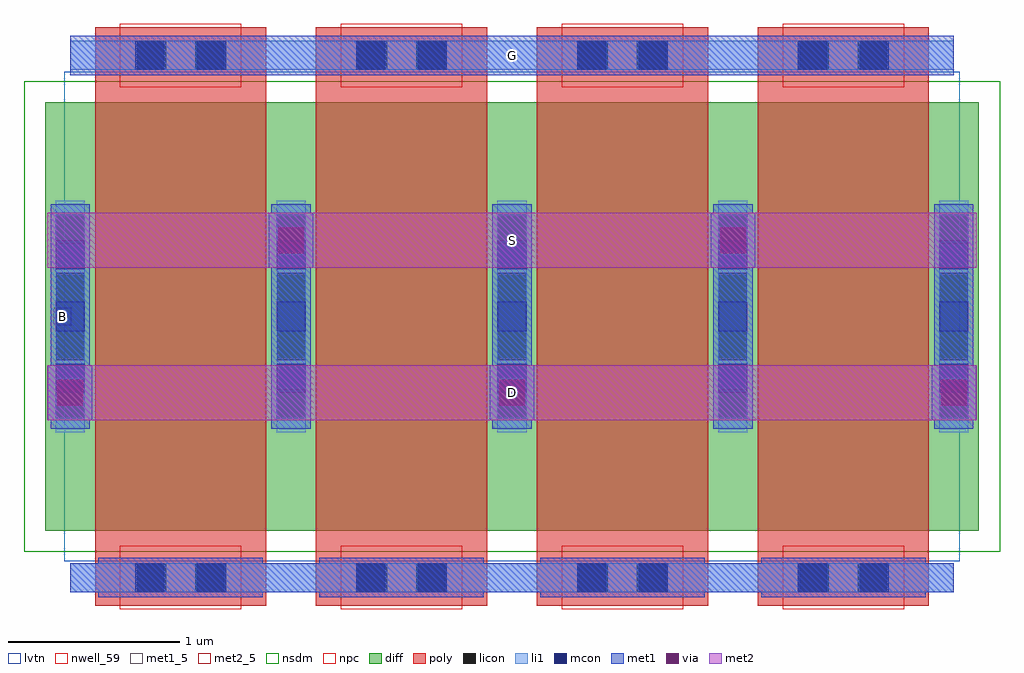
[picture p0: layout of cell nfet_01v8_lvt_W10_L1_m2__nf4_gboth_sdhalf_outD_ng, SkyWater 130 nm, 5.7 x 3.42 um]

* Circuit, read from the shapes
.subckt nfet_01v8_lvt_W10_L1_m2__nf4_gboth_sdhalf_outD_ng B D G S
XM1 S G D B sky130_fd_pr__nfet_01v8_lvt w=2.5 l=1 m=4
.ends

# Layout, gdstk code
import gdstk
lib = gdstk.Library(unit=1e-6, precision=1e-09)
def R(c, l, rs):  # rectangles x0, y0, x1, y1
    for r in rs: c.add(gdstk.rectangle(r[:2], r[2:], *l))
def A(c, l, x, y, w, h, nx, ny, dx, dy):  # array of equal rectangles
    R(c, l, [(x+i*dx, y+j*dy, x+i*dx+w, y+j*dy+h) for i in range(nx) for j in range(ny)])
nwell_59 = (64, 59)
diff = (65, 20)
poly = (66, 20)
licon = (66, 44)
li1 = (67, 20)
mcon = (67, 44)
met1_5 = (68, 5)
met1 = (68, 20)
via = (68, 44)
met2_5 = (69, 5)
met2 = (69, 20)
nsdm = (93, 44)
npc = (95, 20)
lvtn = (125, 44)

sky130_fd_pr__nfet_01v8_ = lib.new_cell('sky130_fd_pr__nfet_01v8_lvt_EJANB7')
R(sky130_fd_pr__nfet_01v8_, diff, [(-2.725,-1.25,2.725,1.25)])
A(sky130_fd_pr__nfet_01v8_, poly, -2.435, -1.69, 1, 3.38, 4, 1, 1.29, 0)
A(sky130_fd_pr__nfet_01v8_, licon, -2.665, -0.595, 0.17, 0.17, 5, 4, 1.29, 0.34)
R(sky130_fd_pr__nfet_01v8_, licon, [(-2.19,-1.61,-2.02,-1.44), (-1.85,-1.61,-1.68,-1.44), (-0.9,-1.61,-0.73,-1.44), (-0.56,-1.61,-0.39,-1.44), (0.39,-1.61,0.56,-1.44), (0.73,-1.61,0.9,-1.44), (1.68,-1.61,1.85,-1.44), (2.02,-1.61,2.19,-1.44), (-2.19,1.44,-2.02,1.61), (-1.85,1.44,-1.68,1.61), (-0.9,1.44,-0.73,1.61), (-0.56,1.44,-0.39,1.61), (0.39,1.44,0.56,1.61), (0.73,1.44,0.9,1.61), (1.68,1.44,1.85,1.61), (2.02,1.44,2.19,1.61)])
A(sky130_fd_pr__nfet_01v8_, li1, -2.665, -0.675, 0.17, 1.35, 5, 1, 1.29, 0)
R(sky130_fd_pr__nfet_01v8_, li1, [(-2.58,-1.61,2.58,-1.44), (-2.58,1.44,2.58,1.61)])
A(sky130_fd_pr__nfet_01v8_, mcon, -2.665, -0.445, 0.17, 0.17, 5, 3, 1.29, 0.36)
R(sky130_fd_pr__nfet_01v8_, mcon, [(-2.2,-1.61,-2.03,-1.44), (-1.84,-1.61,-1.67,-1.44), (-0.91,-1.61,-0.74,-1.44), (-0.55,-1.61,-0.38,-1.44), (0.38,-1.61,0.55,-1.44), (0.74,-1.61,0.91,-1.44), (1.67,-1.61,1.84,-1.44), (2.03,-1.61,2.2,-1.44), (-2.2,1.44,-2.03,1.61), (-1.84,1.44,-1.67,1.61), (-0.91,1.44,-0.74,1.61), (-0.55,1.44,-0.38,1.61), (0.38,1.44,0.55,1.61), (0.74,1.44,0.91,1.61), (1.67,1.44,1.84,1.61), (2.03,1.44,2.2,1.61)])
A(sky130_fd_pr__nfet_01v8_, met1, -2.415, -1.64, 0.96, 0.03, 4, 2, 1.29, 0.2)
A(sky130_fd_pr__nfet_01v8_, met1, -2.695, -0.655, 0.23, 1.31, 5, 1, 1.29, 0)
A(sky130_fd_pr__nfet_01v8_, met1, -2.415, 1.41, 0.96, 0.03, 4, 2, 1.29, 0.2)
R(sky130_fd_pr__nfet_01v8_, met1, [(-2.58,-1.61,2.58,-1.44), (-2.58,1.44,2.58,1.61)])
R(sky130_fd_pr__nfet_01v8_, nsdm, [(-2.85,-1.375,2.85,1.375)])
A(sky130_fd_pr__nfet_01v8_, npc, -2.29, -1.71, 0.71, 0.37, 4, 2, 1.29, 3.05)
R(sky130_fd_pr__nfet_01v8_, lvtn, [(-2.615,-1.43,2.615,1.43)])
sky130_fd_pr__nfet_01v8_.add(gdstk.Label('D0', (-2.58,0), layer=67, texttype=5))
sky130_fd_pr__nfet_01v8_.add(gdstk.Label('G', (1.935,1.525), layer=67, texttype=5))
sky130_fd_pr__nfet_01v8_.add(gdstk.Label('G', (0.645,1.525), layer=67, texttype=5))
sky130_fd_pr__nfet_01v8_.add(gdstk.Label('G', (-0.645,1.525), layer=67, texttype=5))
sky130_fd_pr__nfet_01v8_.add(gdstk.Label('G', (-1.935,1.525), layer=67, texttype=5))
sky130_fd_pr__nfet_01v8_.add(gdstk.Label('S1', (-1.29,0), layer=67, texttype=5))
sky130_fd_pr__nfet_01v8_.add(gdstk.Label('D2', (0,0), layer=67, texttype=5))
sky130_fd_pr__nfet_01v8_.add(gdstk.Label('S3', (1.29,0), layer=67, texttype=5))

nfet_01v8_lvt_w10_l1_m2_ = lib.new_cell('nfet_01v8_lvt_W10_L1_m2__nf4_gboth_sdhalf_outD_ng')
R(nfet_01v8_lvt_w10_l1_m2_, nwell_59, [(0.05,1.64,0.15,1.74)])
R(nfet_01v8_lvt_w10_l1_m2_, met1_5, [(0.145,3.1,5.305,3.33)])
A(nfet_01v8_lvt_w10_l1_m2_, met1, 0.015, 1.085, 0.26, 0.32, 3, 1, 2.58, 0)
R(nfet_01v8_lvt_w10_l1_m2_, met1, [(1.305,1.975,1.565,2.295), (3.885,1.975,4.145,2.295), (0.145,3.1,5.305,3.33)])
A(nfet_01v8_lvt_w10_l1_m2_, via, 0.07, 1.17, 0.15, 0.15, 3, 1, 2.58, 0)
R(nfet_01v8_lvt_w10_l1_m2_, via, [(1.36,2.06,1.51,2.21), (3.94,2.06,4.09,2.21)])
R(nfet_01v8_lvt_w10_l1_m2_, met2_5, [(0.01,1.085,5.44,1.405), (0.01,1.975,5.44,2.295)])
R(nfet_01v8_lvt_w10_l1_m2_, met2, [(0.01,1.085,5.44,1.405), (0.01,1.975,5.44,2.295)])
nfet_01v8_lvt_w10_l1_m2_.add(gdstk.Reference(sky130_fd_pr__nfet_01v8_, (2.725,1.69)))
nfet_01v8_lvt_w10_l1_m2_.add(gdstk.Label('S', (2.725,2.135), layer=69, texttype=5))
nfet_01v8_lvt_w10_l1_m2_.add(gdstk.Label('D', (2.725,1.245), layer=69, texttype=5))
nfet_01v8_lvt_w10_l1_m2_.add(gdstk.Label('G', (2.725,3.215), layer=68, texttype=5))
nfet_01v8_lvt_w10_l1_m2_.add(gdstk.Label('B', (0.1,1.69), layer=64, texttype=59))

lib.write_gds('nfet_01v8_lvt_W10_L1_m2__nf4_gboth_sdhalf_outD_ng.gds')
